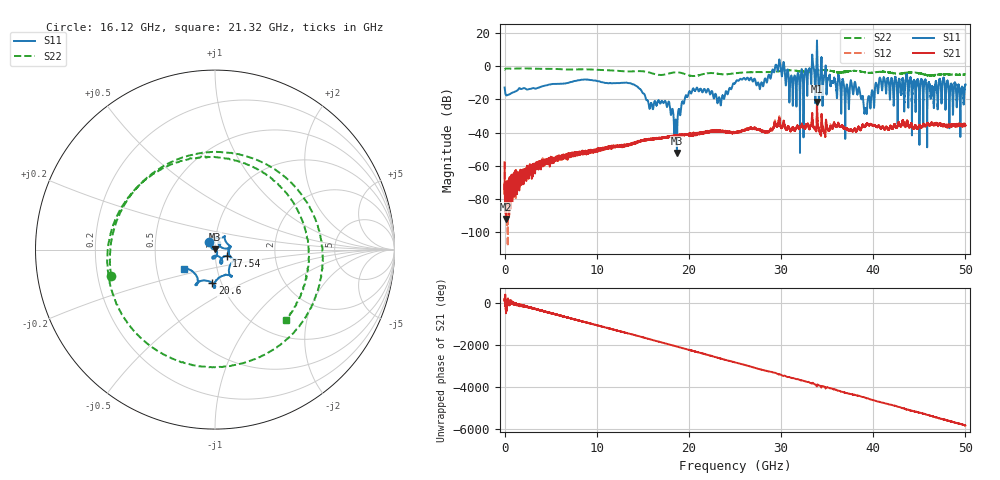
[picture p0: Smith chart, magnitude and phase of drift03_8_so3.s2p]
!Created with skrf (http://scikit-rf.org).
# Hz S RI R 50.0
!freq ReS11 ImS11 ReS21 ImS21 ReS12 ImS12 ReS22 ImS22
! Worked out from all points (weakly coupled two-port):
!   10001 points, 300 kHz to 50 GHz, reference 50 ohm
!   highest |S21| = -21.35 dB at 33.9 GHz (marker M1); lowest = -92.0 dB at 140.3 MHz (marker M2)
!   lowest |S11| = -52.2 dB at 18.7 GHz (marker M3), VSWR 1.00, Z = 50 + j0.242 ohm
!   |S11| at or under -10 dB: start of sweep to 6.949 GHz; 13.3 GHz to 25.05 GHz (11.74 GHz wide, 61.2 % of centre); 38.05 GHz to 40.3 GHz (2.243 GHz wide, 5.72 % of centre) (the widest 3 of 62)
!   |S22| runs from -5.9 to -1.3 dB; largest |S21 - S12| = 0.0086
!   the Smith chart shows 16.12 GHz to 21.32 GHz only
!   S11 on the Smith chart (normalised r, x): 16.12 GHz: 0.94, +0.08; 17.54 GHz: 1.14, -0.08; 20.6 GHz: 0.91, -0.35; 21.32 GHz: 0.69, -0.16
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300000  -0.2087 -0.093  -9.73e-05 0.00125  0.000124 0.00133  -0.7667 -0.1815
1.402992e8  -0.1218 0.0604  2.23e-05 -1.13e-05  -1.45e-05 8.02e-05  -0.8142 0.2233
1.530291e9  0.2027 0.0455  -5.27e-06 -0.000322  0.00013 -0.000382  0.8479 0.0845
3.160281e9  -0.2184 -0.00809  0.000219 0.000981  -3.83e-05 0.000824  -0.8446 -0.024
4.665272e9  0.2636 0.0607  3.02e-05 -0.00148  -0.00018 -0.00143  0.8185 0.1416
6.355262e9  -0.2999 -0.00203  0.000476 0.00185  0.000479 0.00183  -0.8036 -0.0482
8.33525e9  0.2835 -0.2676  -0.00221 -0.000986  -0.00233 -0.000924  0.6001 -0.5367
1.043024e10  -0.0422 0.3316  0.00218 -0.00191  0.00266 -0.00209  -0.0363 0.77
1.201523e10  0.00687 -0.3079  -0.00252 0.00275  -0.00268 0.00266  0.1032 -0.7285
1.61152e10  -0.0319 0.0414  0.00601 0.00196  0.00601 0.00202  -0.5786 -0.1465
1.66702e10  0.0543 0.0753  0.00485 -0.00501  0.00455 -0.0049  -0.353 0.4209
1.753519e10  0.0648 -0.0351  -0.00621 -0.00376  -0.00602 -0.00376  0.5016 0.2778
1.869519e10  -0.000347 0.00242  0.00243 0.00789  0.0026 0.00776  -0.0886 -0.6504
2.059518e10  -0.0145 -0.1851  -0.00804 -0.00426  -0.00795 -0.00428  0.3903 0.3218
2.132017e10  -0.1712 -0.1077  -0.00478 0.00851  -0.00524 0.00876  0.3947 -0.3945
2.500015e10  -0.2964 -0.0467  0.00815 0.00642  0.00794 0.00647  -0.1896 -0.5805
3.050512e10  0.2521 -0.0857  -0.00226 0.0128  -0.00259 0.0129  0.7398 -0.0619
3.213011e10  0.2118 0.3676  -0.000315 -0.0145  -0.000522 -0.0152  -0.6932 0.0137
3.33351e10  0.4021 -0.9823  -0.00461 0.0232  -0.00559 0.0238  0.6141 0.3615
3.38951e10  -0.8499 -5.894  0.0852 0.00843  0.0798 0.00503  0.6795 -0.3326
4.167005e10  -0.2032 0.2871  -0.0112 -0.00473  -0.0112 -0.00522  -0.6583 -0.0516
5e10  -0.1598 -0.2302  0.000289 -0.0169  0.00134 -0.0166  0.4599 -0.3196
